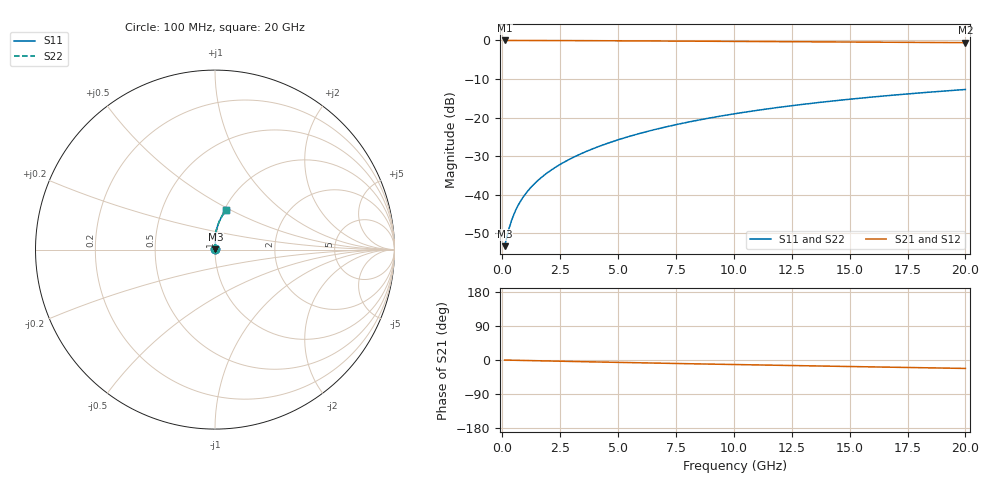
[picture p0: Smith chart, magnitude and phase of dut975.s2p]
! Touchstone file exported from HFSS 2024.1.0
!  File:  C:/UserFiles/LocalFiles/RDL_TSV_Batchsim/temp_RDL_top_975_1779938984.aedt
!  Generated:  11:32:15 AM May 28, 2026
!  Design:  RDL_top
!  Project:  temp_RDL_top_975_1779938984
!  Setup:  Setup1
!  Solution:  Sweep
! Variables:
!  dtsv = 10.80580581um
!  hbump = 3um
!  htsv = 85.39um
!  ldown = 100um
!  lrdl = 275.16um
!  p = 40
!  p1 = 54.17um
!  rhole = 1um
!  t = 450um
!  tdown = 3.915915916um
!  trdl = 2.5um
!  wdown = 15.38538539um
!  wrdl = 25.68um
# GHz S MA R 50.000000
! Terminal data exported
! Port[1] = Box2_T1
! Port[2] = Box2_T2
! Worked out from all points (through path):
!   200 points, 100 MHz to 20 GHz, reference 50 ohm
!   highest |S21| = -0.02 dB at 100 MHz (marker M1); lowest = -0.6 dB at 20 GHz (marker M2)
!   group delay of S21, straight-line fit = 3.06 ps
!   lowest |S11| = -53.3 dB at 100 MHz (marker M3), VSWR 1.00, Z = 50.2 + j0.108 ohm
!   |S11| at or under -10 dB: start of sweep to end of sweep
!   |S22| runs from -53.3 to -12.7 dB; largest |S21 - S12| = 3.4e-15
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0.1  0.002151 30.0  0.9981 -0.1  0.9981 -0.1  0.002151 30.0
! Gamma 0 0 0 0
! Port Impedance 50 0 50 0
0.3  0.003715 58.8  0.998 -0.4  0.998 -0.4  0.003716 58.8
0.4  0.004631 64.9  0.9978 -0.5  0.9978 -0.5  0.004633 64.9
0.5  0.005563 68.8  0.9977 -0.7  0.9977 -0.7  0.005565 68.8
0.6  0.006497 71.6  0.9976 -0.8  0.9976 -0.8  0.006499 71.5
0.8  0.008361 75.3  0.9974 -1.1  0.9974 -1.1  0.008362 75.3
1.1  0.01116 78.9  0.9971 -1.4  0.9971 -1.4  0.01116 78.9
1.3  0.01303 80.6  0.9968 -1.7  0.9968 -1.7  0.01304 80.6
1.6  0.01588 82.5  0.9964 -2.1  0.9964 -2.1  0.01588 82.5
2.1  0.02073 84.7  0.9956 -2.7  0.9956 -2.7  0.02073 84.7
2.7  0.02672 86.5  0.9944 -3.5  0.9944 -3.5  0.02672 86.5
3.5  0.03501 87.9  0.9925 -4.5  0.9925 -4.5  0.03501 87.9
4.2  0.04254 88.6  0.9905 -5.3  0.9905 -5.3  0.04254 88.5
5  0.05145 88.9  0.9881 -6.3  0.9881 -6.3  0.05144 88.9
5.9  0.0618 88.9  0.9851 -7.4  0.9851 -7.4  0.06179 88.9
6.8  0.07243 88.5  0.982 -8.4  0.982 -8.4  0.07243 88.5
8.4  0.09182 87.4  0.9764 -10.2  0.9764 -10.2  0.09182 87.4
10.1  0.1128 85.7  0.9703 -12.1  0.9703 -12.1  0.1128 85.7
11.7  0.1325 83.9  0.9646 -13.8  0.9646 -13.8  0.1325 83.9
13.4  0.1534 81.9  0.9586 -15.6  0.9586 -15.6  0.1534 81.9
16.7  0.193 77.9  0.9468 -18.9  0.9468 -18.9  0.193 77.9
20  0.231 74.0  0.9348 -22.3  0.9348 -22.3  0.231 74.0
